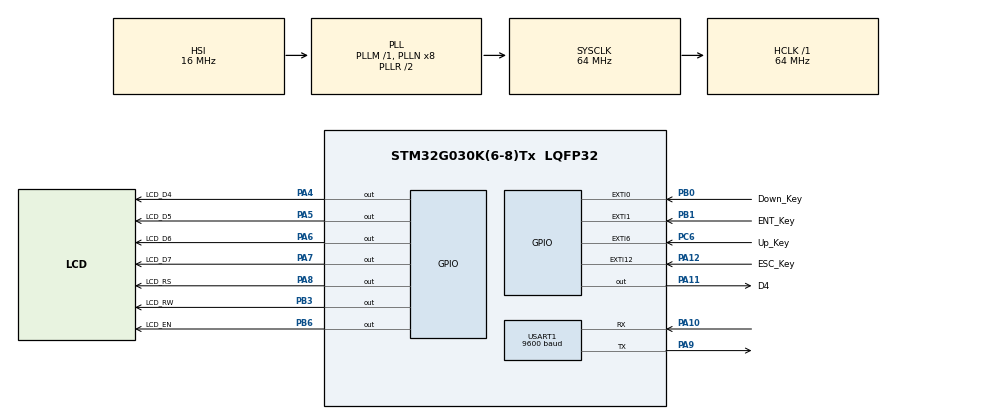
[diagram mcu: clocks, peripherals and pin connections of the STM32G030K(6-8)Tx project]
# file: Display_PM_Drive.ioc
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Mcu.Family=STM32G0
Mcu.Name=STM32G030K(6-8)Tx
Mcu.Package=LQFP32
NVIC.EXTI0_1_IRQn=true\:1\:0\:true\:false\:true\:true\:true\:true
NVIC.EXTI4_15_IRQn=true\:1\:0\:true\:false\:true\:true\:true\:true
NVIC.TIM1_BRK_UP_TRG_COM_IRQn=true\:1\:0\:true\:false\:true\:true\:true\:true
NVIC.USART1_IRQn=true\:0\:0\:false\:false\:true\:true\:true\:true
PA10.Mode=Asynchronous
PA10.Signal=USART1_RX
PA11\ [PA9].GPIO_Label=D4
PA11\ [PA9].Signal=GPIO_Output
PA12\ [PA10].GPIO_Label=ESC_Key
PA12\ [PA10].GPIO_ModeDefaultEXTI=GPIO_MODE_IT_FALLING
PA12\ [PA10].GPIO_PuPd=GPIO_PULLUP
PA12\ [PA10].Signal=GPXTI12
PA13.Mode=Serial_Wire
PA13.Signal=SYS_SWDIO
PA14-BOOT0.Mode=Serial_Wire
PA14-BOOT0.Signal=SYS_SWCLK
PA4.GPIO_Label=LCD_D4
PA4.GPIO_PuPd=GPIO_PULLDOWN
PA4.Signal=GPIO_Output
PA5.GPIO_Label=LCD_D5
PA5.GPIO_PuPd=GPIO_PULLDOWN
PA5.Signal=GPIO_Output
PA6.GPIO_Label=LCD_D6
PA6.GPIO_PuPd=GPIO_PULLDOWN
PA6.Signal=GPIO_Output
PA7.GPIO_Label=LCD_D7
PA7.GPIO_PuPd=GPIO_PULLDOWN
PA7.Signal=GPIO_Output
PA8.GPIO_Label=LCD_RS
PA8.GPIO_PuPd=GPIO_PULLDOWN
PA8.Signal=GPIO_Output
PA9.Mode=Asynchronous
PA9.Signal=USART1_TX
PB0.GPIO_Label=Down_Key
PB0.GPIO_ModeDefaultEXTI=GPIO_MODE_IT_FALLING
PB0.GPIO_PuPd=GPIO_PULLUP
PB0.Signal=GPXTI0
PB1.GPIO_Label=ENT_Key
PB1.GPIO_ModeDefaultEXTI=GPIO_MODE_IT_FALLING
PB1.GPIO_PuPd=GPIO_PULLUP
PB1.Signal=GPXTI1
PB3.GPIO_Label=LCD_RW
PB3.GPIO_PuPd=GPIO_PULLDOWN
PB3.Signal=GPIO_Output
PB6.GPIO_Label=LCD_EN
PB6.GPIO_PuPd=GPIO_PULLDOWN
PB6.Signal=GPIO_Output
PB8.Signal=I2C1_SCL
PC6.GPIO_Label=Up_Key
PC6.GPIO_ModeDefaultEXTI=GPIO_MODE_IT_FALLING
PC6.GPIO_PuPd=GPIO_PULLUP
PC6.Signal=GPXTI6
ProjectManager.HeapSize=0x200
ProjectManager.StackSize=0x400
ProjectManager.TargetToolchain=MDK-ARM V5.32
RCC.ADCFreq_Value=64000000
RCC.AHBFreq_Value=64000000
RCC.CortexFreq_Value=64000000
RCC.EXTERNAL_CLOCK_VALUE=12288000
RCC.HCLKFreq_Value=64000000
RCC.HSE_VALUE=8000000
RCC.HSI_VALUE=16000000
RCC.LSE_VALUE=32768
RCC.SYSCLKFreq_VALUE=64000000
RCC.SYSCLKSource=RCC_SYSCLKSOURCE_PLLCLK
RCC.VCOOutputFreq_Value=128000000
TIM1.AutoReloadPreload=TIM_AUTORELOAD_PRELOAD_ENABLE
TIM1.Period=6399
TIM1.Prescaler=999
TIM14.Period=6399
TIM14.Prescaler=999
USART1.BaudRate=9600
USART1.Parity=PARITY_NONE
USART1.VirtualMode-Asynchronous=VM_ASYNC
VP_TIM14_VS_ClockSourceINT.Mode=Enable_Timer
VP_TIM1_VS_ClockSourceINT.Mode=Internal
board=custom

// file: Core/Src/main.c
/* USER CODE BEGIN Header */
/**
  ******************************************************************************
  * @file           : main.c
  * @brief          : Main program body
  ******************************************************************************
  * @attention
  *
  * Copyright (c) 2024 STMicroelectronics.
  * All rights reserved.
  *
  * This software is licensed under terms that can be found in the LICENSE file
  * in the root directory of this software component.
  * If no LICENSE file comes with this software, it is provided AS-IS.
  *
  ******************************************************************************
  */
/* USER CODE END Header */
#include "main.h"

/* USER CODE BEGIN Includes */
#include "stm32G0xx_hal_gpio.h"
#include "Store_Flash.h"
#include "Menu.h"
#include "LCD.h"
#include <stdint.h>

#define Lock_ADV 200                  				// Lock time is according to Timer(100ms) : Ex: 200*100ms= 20000ms = 20s
#define Enter_Manual_Time 30          				// Entering manual mode or tuning mode is deppended on the Timer 100ms : Ex: 30*100ms= 3000ms = 3s : ItТs a reservation for when we want to enter manual mode using hotkeys. (we have write code in their functions if we want to have this Feature.)
#define Back_To_First_After_Time 100  				// Back to Screen Save after specefic time Time : Ex: 100*100ms= 10000ms = 10s
#define Turn_Off_Backlight 70                 // 7s
#define Feature_Turn_Off_Backlight 1          // 1: On , 0:off
//#define RST_Time 30                         //

extern uint8_t Byte_1_Device_Mode;
//----------------------------------
extern char Default_Flash_Array[255];					 // Coefficients for Defualt
char Commercial_Flash_Array[255];    				   // Coefficients for Commercial
char Household_Flash_Array[255];     					 // Coefficients for Household
char Office_Flash_Array[255]={0x01};  				 // Coefficients for Office
//bool Reset_To_Default_Value=0;
//-------------------------------------------------------
//----------------------------- Reserved addresses in Flash
//-------------------------------------------------------
#define Byte_1_Setup 0xFF                       // It's an address in RAM and it use for setup device
uint8_t Byte_1_Manual_Mode=0xFE;						    // It's a setting address for Manual mode
#define Byte_1_OK_Received 0xFD							    // It's a setting receving aknowledge
#define Byte_1_Receive_Data_Main_Board 0xfc     // It's a setting address for receving Data through mainboard
#define Byte_1_Reset_LCD 0xFB                   // It's a setting address for Reset LCD

//-------------------------------------------------------
//----------------------------- Read/Write Flash Variable
//-------------------------------------------------------
uint32_t addr = FLASH_USER_START_ADDR;          // Start address in flash memory :It's for storagind coefficients
char Read_Array_Flash[255];											// It's coefficients array
uint8_t Array_Flash_Counter=0;									// It's for counting coefficient's index

//-------------------------------------------------------
//----------------------------- UART Variables
//-------------------------------------------------------
uint8_t byte;
#define  Length_Frame 11
char buffer[Length_Frame];                 			//It's for printf Function in UART.
uint8_t  arr_frame[Length_Frame];							  //This array use for Storge valid bytes that sent from master device.
int  frame_counter=0;						           			//It's for counting bytes received from UART that they are valid for making Frame.
bool block_Counter_frame=0;			           		  //It's for checking start of frame "0xAA";
int  clear_counter_Frame=0;                     //It's for clearing "arr_frame";
uint8_t Value_Res1;                             //This variable is used for sending data on UART
uint8_t Byte_1_Start_Frame=0xAA;                //Setting Byte: Start Frame 1
uint8_t Byte_2_Start_Frame=0xBB;                //Setting Byte: Start Frame 2
uint8_t Byte_1_END_Frame=0xEE;               	  //Setting Byte: End Frame 1
uint8_t Byte_2_END_Frame=0xFF;                	//Setting Byte: End Frame 2
uint8_t Byte_1_Read_Frame=0xCC;                 //Setting Byte: Read Frame
uint8_t Byte_1_Write_Frame=0xDD;                //Setting Byte: Write Frame
bool Serial_Available=0;									      //show UART is available or not
bool Serial_Repeat=0;											      //It's a Flag for Enabling repeat_serial
uint8_t  Seial_Repeat_arr_frame[Length_Frame];	//repeat fream
bool Repeat_Time=0;															//It's for controling time of blinking
uint8_t Number_Repeat_Serial=0;                 //Number of repeat for sending frame
bool Lock_System=0;															//Arrow keys would be out of reach when this variable set 1
bool Transmision_Flag=0;												//This variable use for blocking sending Data

uint8_t Counter_Reset_system=5;									//Reset system after 5 second
uint8_t Counter_Devide_10=0;                    //It is used to divide time in the timer loop.

uint8_t Repeat_time_Serial=0;
//-------------------------------------------------------
//----------------------------- Keys&Menu Variable
//-------------------------------------------------------
Menu_HandleTypeDef PM_Menu;
uint8_t Menu_ESC=0;															// It would be 1 if we press ESC
uint8_t Menu_ENT=0;															// It would be 1 if we press ENT
uint8_t Menu_Down=0;														// It would be 1 if we press Down
uint8_t Menu_Up=0;															// It would be 1 if we press Up
extern int Value;																// It's for showing value on LCD or deciding about settings
uint8_t Menu_Reset;															// Reserve
int Fault_Vector=0;															// Reserve
int Counter_Down_Key=0;													// It whould be increase when you press "Down Key"
int Counter_ENT_Key=0;													// It whould be increase when you press "ENT Key"
int Counter_RST_Key=0;													// It whould be increase when you press "RST Key"
bool Manual_mode=0;															// It whould be one when you enter manual mode
uint8_t Counter_UP_Key=0;												// It whould be increase when you press "UP Key"
uint8_t Counter_ESC_Key=0;											// It whould be increase when you press "ESC Key"
uint8_t Step_Speed=0;														// It whould be increase when you press and hold on a key : we have 3 steps for increasing count's speed
uint8_t Counter_Change_Value=0;                 // It is used for changing Steps when we press up or down keys and hold on
uint8_t Counter_Key_Hold=0;											// It is used for calculating time when we press Up or down key and hold on
bool Lock_Counter_Key=1;											  // Changing the count's speed and changing steps would be locked if this flag set to 1
extern bool Reset_Menu;													// We can reset everything in the menu if this flag set to 1
bool Lock_LCD=0;																// Nothing shows on the LCD if this flag is set to 1
//-------------------------------------------------------
//----------------------------- Save Process Variables
//-------------------------------------------------------
bool Toggle_Sevensegment=0;										  // This variable is used for toggle LED segments when we are in save mode.
uint8_t Counter_Toggle_Sevensegment=0; 				  // We can control blinking time with this counter
extern uint8_t setting; 						  					// Coefficient array's Index
//-------------------------------------------------------
//----------------------------- Check Manual mode Variables
//-------------------------------------------------------
uint8_t Counter_Back_to_Norm=0;
bool Tune_Mode=0;                               // It would be 1 if tune mode is enabled
uint8_t Byte_1_OD_Mode=0x01;										// It's a special value when we are in manual mode if you want to have more information, please refer to the protocols document
uint8_t Byte_1_CD_Mode=0x02;										// It's a special value when we are in manual mode if you want to have more information, please refer to the protocols document
uint8_t Byte_1_Tune_Mode=0x03;									// It's a special value when we are in manual mode if you want to have more information, please refer to the protocols document
uint8_t Byte_1_Normal_Mode=0x04;								// It's a special value when we are in manual mode if you want to have more information, please refer to the protocols document
//-------------------------------------------------------
//----------------------------- Password Variable
//-------------------------------------------------------
extern bool check_Pass;													// It's a flag for validating the password
uint8_t Counter_Lock_Pass=0;										// Advance would be lock after a special time
bool Flag_Lock_Pass_Show=0;                     // It's a flag for locking the advanced mode

//-------------------------------------------------------
//----------------------------- Screen saver Variable
//-------------------------------------------------------
#define Travel_Byte_1_main 0x55                 // Setting Byte: For illustrating the Travel state on LCD, the main board has to send this value as a setting
#define Fault_Byte_1_main 0x77									// Setting Byte: For illustrating the Fault state on LCD, the main board has to send this value as a setting
char Show_Variable[4];													// Illustrating values on screen saver when value are sended through mainborad
bool Flag_Screen_Saver=0;												// It's a flag for enabeling sacreen saver
bool Change_State_LCD=0;												// When we are in status mode and return to normal mode, this flag is used to clear the LCD.
uint8_t Screen_Number=0;												// It's a value for selecting travel state or fault state that recieved through mainboard
uint8_t Counter_Time_Screen_Saver=0;						// It's a time counter for sceern saver: It would be 0 if we push keys
bool Flag_Repeat_Off=0;													// Sending repeat data would be off if this flag set to 1
//-------------------------------------------------------
//----------------------------- Wating
//-------------------------------------------------------
bool Flag_System_Waitng=0;                      // when system  has a special duty at the moment like sending frame or receiving frame, this flag would be 1
uint8_t Counter_Wating=0;
//-------------------------------------------------------
//----------------------------- CRC Variable
//-------------------------------------------------------
uint8_t CRC_Value;															//CRC= summation(All Coefficient)%97
//-------------------------------------------------------
//----------------------------- Turn off backlight
//-------------------------------------------------------
uint8_t Conter_Backlight=0;

/* USER CODE END Includes */

TIM_HandleTypeDef htim1;
TIM_HandleTypeDef htim14;

UART_HandleTypeDef huart1;

void SystemClock_Config(void);
static void MX_GPIO_Init(void);
static void MX_TIM1_Init(void);
static void MX_USART1_UART_Init(void);
static void MX_TIM14_Init(void);
/* USER CODE BEGIN PFP */

//------------------------------------------------------------------------------------------ Turn off LCD's Backlight
void GPIO_Init_Input(void);
//------------------------------------------------------------------------------------------ Turn on LCD's Backlight
void GPIO_Init_Output(void);
//------------------------------------------------------------------------------------------ UART Response
void Response_Input_Data(char byte_0){
	arr_frame[5]=0x00;       //Bit0 Response Value
	Value_Res1=byte_0;
	arr_frame[6]=Value_Res1; //Bit1 Response Value
	HAL_UART_Transmit(&huart1, arr_frame, sizeof(arr_frame), 10);
}
void LCD_OFF(void) {
    // Define the GPIO configuration structure
    GPIO_InitTypeDef GPIO_InitStruct = {0};

    // Configure GPIO pin PA5 as input
    GPIO_InitStruct.Pin = D4_Pin;
    GPIO_InitStruct.Mode = GPIO_MODE_INPUT;
    GPIO_InitStruct.Pull = GPIO_NOPULL;          // No pull-up or pull-down
    HAL_GPIO_Init(GPIOA, &GPIO_InitStruct);
}

// Function to configure D4 as output
void LCD_ON(void) {
    // Enable the GPIO clock for port A (adjust for your specific port)
    __HAL_RCC_GPIOA_CLK_ENABLE();

    // Define the GPIO configuration structure
    GPIO_InitTypeDef GPIO_InitStruct = {0};

    // Configure GPIO pin PA5 as output
    GPIO_InitStruct.Pin = D4_Pin;
    GPIO_InitStruct.Mode = GPIO_MODE_OUTPUT_PP;  // Push-pull output
    GPIO_InitStruct.Pull = GPIO_PULLDOWN;          // No pull-up or pull-down
    GPIO_InitStruct.Speed = GPIO_SPEED_FREQ_LOW; // Set speed to low
    HAL_GPIO_Init(GPIOA, &GPIO_InitStruct);
}
//------------------------------------------------------------------------------------------ TIMER
void HAL_TIM_PeriodElapsedCallback(TIM_HandleTypeDef *htim)
{

	if (htim==&htim14) //100ms
  {
		if(Counter_Toggle_Sevensegment>1){ // It is for controling speed of blinking : 200 ms
			Toggle_Sevensegment=!Toggle_Sevensegment;
			Counter_Toggle_Sevensegment=0;
		}
		Counter_Toggle_Sevensegment=Counter_Toggle_Sevensegment+1;
	}

	if (htim==&htim1) //100ms
  {
		//-------------------------------------------------------- Change Value when we press Up key and hold on
		if(HAL_GPIO_ReadPin(Up_Key_GPIO_Port,Up_Key_Pin)==0){
			Counter_Change_Value=Counter_Change_Value+1;
			if(Lock_Counter_Key==0){
				Counter_Key_Hold=Counter_Key_Hold+1;
			}
			if(Counter_Key_Hold>=25 && Step_Speed==0){ //It would be faster after 2.5 second
				Counter_Key_Hold=0;
				Step_Speed=Step_Speed+1;
				Counter_Change_Value=0;
			}
			else if(Counter_Key_Hold>=25 && Step_Speed==1){ //It would be faster after +2.5 second
				Step_Speed=Step_Speed+1;
				Lock_Counter_Key=1;
				Counter_Change_Value=0;
			}
			if(Step_Speed==0 && Counter_Change_Value>=4){ //Value would be change in each 0.4 second
					Change_Value_Conditions_Up_Key(&PM_Menu);
					Counter_Change_Value=0;
			}
			else if(Step_Speed==1 && Counter_Change_Value>=2){ //Value would be change in each 0.2 second
					Change_Value_Conditions_Up_Key(&PM_Menu);
					Counter_Change_Value=0;
			}
			else if(Step_Speed==2 && Counter_Change_Value>=1){ //Value would be change in each 0.1 second
					Change_Value_Conditions_Up_Key(&PM_Menu);
					Counter_Change_Value=0;
			}
		}
		//-------------------------------------------------------- Change Value when we press Down key and hold on
		else if(HAL_GPIO_ReadPin(Down_Key_GPIO_Port,Down_Key_Pin)==0){
			Counter_Change_Value=Counter_Change_Value+1;
			if(Lock_Counter_Key==0){
				Counter_Key_Hold=Counter_Key_Hold+1;
			}
			if(Counter_Key_Hold>=25 && Step_Speed==0){ //It would be faster after 2.5 second
				Counter_Key_Hold=0;
				Step_Speed=Step_Speed+1;
				Counter_Change_Value=0;
			}
			else if(Counter_Key_Hold>=25 && Step_Speed==1){ //It would be faster after +2.5 second
				Step_Speed=Step_Speed+1;
				Lock_Counter_Key=1;
				Counter_Change_Value=0;
			}
			if(Step_Speed==0 && Counter_Change_Value>=4 && Value>>0){ //Value would be change in each 0.4 second
					Change_Value_Conditions_Down_Key(&PM_Menu);
					Counter_Change_Value=0;
			}
			else if(Step_Speed==1 && Counter_Change_Value>=2 && Value>>0){ //Value would be change in each 0.2 second
					Change_Value_Conditions_Down_Key(&PM_Menu);
					Counter_Change_Value=0;
			}
			else if(Step_Speed==2 && Counter_Change_Value>=1 && Value>>0){ //Value would be change in each 0.1 second
					Change_Value_Conditions_Down_Key(&PM_Menu);
					Counter_Change_Value=0;
			}
		}
		else if(HAL_GPIO_ReadPin(Up_Key_GPIO_Port,Up_Key_Pin)==1 && HAL_GPIO_ReadPin(Down_Key_GPIO_Port,Down_Key_Pin)==1){
			Step_Speed=0;
			Counter_Change_Value=0;
			Lock_Counter_Key=0;
			Counter_Key_Hold=0;
		}

		//---------------------------------------------------- Read ESC Key
		if(HAL_GPIO_ReadPin(ESC_Key_GPIO_Port,ESC_Key_Pin)==0){
			Counter_ESC_Key=Counter_ESC_Key+1;
			Counter_Time_Screen_Saver=0;
			if(Counter_ESC_Key>=Enter_Manual_Time){
				Counter_ESC_Key=Enter_Manual_Time;
				//Place your code (Hotkeys)
			}
		}
		else{
			Counter_ESC_Key=0;
		}
		//---------------------------------------------------- Read UP Key
		if(HAL_GPIO_ReadPin(Up_Key_GPIO_Port,Up_Key_Pin)==0){
			Counter_Lock_Pass=0;
			Counter_Time_Screen_Saver=0;
			Counter_UP_Key=Counter_UP_Key+1;
				if(Counter_UP_Key>=Enter_Manual_Time){
					Counter_UP_Key=Enter_Manual_Time;
					//Place your code (Hotkeys)
			}
		}
		else{
			Counter_UP_Key=0;
		}
		//---------------------------------------------------- Read Down Key
		if(HAL_GPIO_ReadPin(Down_Key_GPIO_Port,Down_Key_Pin)==0){
			Counter_Lock_Pass=0;
			Counter_Time_Screen_Saver=0;
			Counter_Down_Key=Counter_Down_Key+1;
			if(Counter_Down_Key>=Enter_Manual_Time){
				Counter_Down_Key=Enter_Manual_Time;
				//Place your code (Hotkeys)
			}
		}
		else{
			Counter_Down_Key=0;
		}

		//---------------------------------------------------- Read ENT Key
		if(HAL_GPIO_ReadPin(ENT_Key_GPIO_Port,ENT_Key_Pin)==0){
			Counter_ENT_Key=Counter_ENT_Key+1;
				if(Counter_ENT_Key>=Enter_Manual_Time){
					Counter_ENT_Key=Enter_Manual_Time;
					//Place your code (Hotkeys)
			}
			Counter_Time_Screen_Saver=0;
		}
		else{
			Counter_ENT_Key=0;
		}
		//--------------------------- // If ADV 1 or ADV 2 was unlocked, it would be lock after "Lock_ADV" time
		if(check_Pass==1){
			Counter_Lock_Pass=Counter_Lock_Pass+1;
			if(Counter_Lock_Pass==Lock_ADV){
				Flag_Lock_Pass_Show=1;
				check_Pass=0;
				Counter_Lock_Pass=0;
				Reset_Menu=1;
				Flag_Screen_Saver=1;
			}
		}
		//---------------------------------------------------- Back to Screen Saver
		if(Manual_mode==0 && Flag_Screen_Saver==0){
			Counter_Time_Screen_Saver=Counter_Time_Screen_Saver+1;
		}
		if(Counter_Time_Screen_Saver>=Back_To_First_After_Time){
			Flag_Screen_Saver=1;
			Counter_Time_Screen_Saver=0;
			//Reset_Menu=1;
		}
		//---------------------------------------------------- Back to Normal Mode

		if(Manual_mode==0 && Counter_Back_to_Norm>=Back_To_First_After_Time){
			Lock_LCD=0;
			Manual_mode=0;
			Counter_Back_to_Norm=0;
			Reset_Menu=1;
			Flag_Screen_Saver=1;
			Counter_Back_to_Norm=Counter_Back_to_Norm+1;
		}
		/*else if(Manual_mode==1){
			Counter_Back_to_Norm=Counter_Back_to_Norm+1;
		}*/
		//---------------------------------------------------- Reset systeam after a special time
		if(Lock_System==1){
			Counter_Devide_10=Counter_Devide_10+1;
			if(Counter_Devide_10>=10){
				Counter_Devide_10=0;
				Counter_Reset_system=Counter_Reset_system-1;
			}
		}
		//---------------------------------------------------- Wating for filling coefficient
		if(Flag_System_Waitng==1){
			Counter_Wating=Counter_Wating+1;
			if(Counter_Wating>=20){
				Flag_System_Waitng=0;
				Counter_Wating=0;
			}
		}
		//---------------------------------------------------- Time for Repeating serial's data : Repeat data after 500 milisecound
		if(Serial_Repeat==1){
				Repeat_time_Serial=Repeat_time_Serial+1;
				if(Repeat_time_Serial==5){
					Repeat_Time=1;
					Repeat_time_Serial=0;
				}
			}
		//----------------------------------------------- Repeat data if we dont have reponse from main board when we have a change in the menu
		if(Serial_Repeat==1 && Repeat_Time==1 && Lock_System==0){
			HAL_UART_Transmit(&huart1, Seial_Repeat_arr_frame, sizeof(Seial_Repeat_arr_frame), 1000);
			Number_Repeat_Serial=Number_Repeat_Serial+1;
			Repeat_Time=0;
		}
		//----------------------------------------------- LCDs Backlight would be off after 5 second if we are screen saver mode
		if(Feature_Turn_Off_Backlight==1){
			if(Flag_Screen_Saver==1 && Flag_System_Waitng==0){
				Conter_Backlight=Conter_Backlight+1;
				if(Conter_Backlight>=Turn_Off_Backlight){
					Conter_Backlight=Turn_Off_Backlight;
					//LCD_OFF();
					HAL_GPIO_WritePin(D4_GPIO_Port, D4_Pin, GPIO_PIN_RESET);//LCD :OFF
				}
			}
			else if(Flag_Screen_Saver==0){
				Conter_Backlight=0;
				//LCD_ON();
				HAL_GPIO_WritePin(D4_GPIO_Port, D4_Pin, GPIO_PIN_SET);//LCD :ON
			}
		}

	}
}

//------------------------------------------------------------------------------------------ Receive UART1 and making Frame
void HAL_UART_RxCpltCallback(UART_HandleTypeDef *huart)
{
	if (huart == &huart1) {
		Serial_Available=1;
		//------------------------------------------- Make frame
		if(block_Counter_frame==1 && frame_counter<Length_Frame){
			arr_frame[frame_counter]=byte;
			frame_counter=frame_counter+1;
		}
		else if(byte==0xAA){
			memset(arr_frame,0,sizeof(arr_frame));
			block_Counter_frame=1;
			frame_counter=0;
			arr_frame[frame_counter]=byte;
			frame_counter=frame_counter+1;
			//free(arr_frame);
			//arr_dynamic = calloc(elements, sizeof(int)); //Array with 2 integer blocks
		}

		HAL_UART_Receive_IT(&huart1, &byte, 1);
	}
}
//------------------------------------------------------------------------------------------ EXTERNAL INTERUPT KEY
void HAL_GPIO_EXTI_Falling_Callback(uint16_t GPIO_Pin)
{

		if(Flag_Screen_Saver==0){
			if(GPIO_Pin== ESC_Key_Pin){
					Menu_ESC= !(HAL_GPIO_ReadPin(ESC_Key_GPIO_Port,ESC_Key_Pin));
					Counter_Lock_Pass=0;
			}
			if(GPIO_Pin== ENT_Key_Pin){
					Menu_ENT= !(HAL_GPIO_ReadPin(ENT_Key_GPIO_Port,ENT_Key_Pin));
					Counter_Lock_Pass=0;
			}
			if(GPIO_Pin== Down_Key_Pin){
					Menu_Down= !(HAL_GPIO_ReadPin(Down_Key_GPIO_Port,Down_Key_Pin));
					Counter_Lock_Pass=0;
			}
			if(GPIO_Pin== Up_Key_Pin){
					Menu_Up= !(HAL_GPIO_ReadPin(Up_Key_GPIO_Port,Up_Key_Pin));
					Counter_Lock_Pass=0;
			}
		}
		Counter_Time_Screen_Saver=0;
		Flag_Screen_Saver=0;

}

// Function to configure D4 as input

/* USER CODE END PFP */

int main(void)
{

  /* MCU Configuration--------------------------------------------------------*/

  /* Reset of all peripherals, Initializes the Flash interface and the Systick. */
  HAL_Init();

  /* Configure the system clock */
  SystemClock_Config();

  /* Initialize all configured peripherals */
  MX_GPIO_Init();
  MX_TIM1_Init();
  MX_USART1_UART_Init();
  MX_TIM14_Init();

  /* Infinite loop */
  /* USER CODE BEGIN WHILE */
	HAL_TIM_Base_Start_IT(&htim1);
	HAL_TIM_Base_Start_IT(&htim14);
	HAL_UART_Receive_IT(&huart1, &byte, 1);

	Manage_Memory(Default_Flash_Array,0);
	Manage_Memory(Commercial_Flash_Array,1);
	Manage_Memory(Household_Flash_Array	,2);
	Manage_Memory(Office_Flash_Array,3);

	LCD_Init();
	/* It can be used in the future
	GPIO_Init_Input();
	HAL_Delay(1000);*/

	//------------------------------- Reading Flash and filling coefficient array
	while(1) {
		int32_t data = readFlash(addr);
		if(data == -1) {
			break;
		}
		Read_Array_Flash[Array_Flash_Counter]=data-1;
		Array_Flash_Counter=Array_Flash_Counter+1;
		addr += 8;
	}

	if(Read_Array_Flash[0]==0x00){ // Refer to document (Setup_Flash)
		Setup_Flash();
		//Read_Flash=1;
		HAL_NVIC_SystemReset();
	}

	if(Counter_ESC_Key!=0 && Counter_UP_Key!=0){ // Refer to document (LCD Tunning mode)
		Setup_Flash();
		Tune_Mode=1;
	}

	HAL_Delay(100);
	Storage_Data_On_Mainboard(0x00,Byte_1_Setup);
	Array_Flash_Counter=0x00;
	HAL_Delay(100);

	if(Read_Array_Flash[6]==1 || Tune_Mode==1){
		setting=6;
		Tune_Mode=1;
		Read_Array_Flash[6]=Tune_Mode;
		Erase_Flash(FLASH_USER_START_ADDR,ADDR_FLASH_PAGE_BASE);
		incriment_array(1,sizeof(Read_Array_Flash),Read_Array_Flash);
		writeFlash(FLASH_USER_START_ADDR, Read_Array_Flash);
		incriment_array(-1,sizeof(Read_Array_Flash),Read_Array_Flash);
		Storage_Data_On_Mainboard(Tune_Mode,setting);
		setting=0;
	}

	Flag_Screen_Saver=1;
	Screen_Number=0;

	//LCD_ON();
	HAL_GPIO_WritePin(D4_GPIO_Port, D4_Pin, GPIO_PIN_SET);//LCD :ON
  while (1)
  {

		//GPIO_Init_Input();

		//------------------------------- Filling Flash with Default Value
		/*if(Reset_To_Default_Value==1){
			Erase_Flash(FLASH_USER_START_ADDR,ADDR_FLASH_PAGE_BASE);
			writeFlash(FLASH_USER_START_ADDR, Default_Flash_Array);
			Storage_Data_On_Mainboard(0,Byte_1_Device_Mode);
			HAL_NVIC_SystemReset();
		}*/

		//------------------------------- It's for illustrating "Advance Lock" on the seven segment
		if(Flag_Lock_Pass_Show==1){
			LCD_Puts(0,0,"   ADV Locked   ");
			LCD_Puts(0,1,"                ");
			Counter_Lock_Pass=Counter_Lock_Pass+1;
			if(Counter_Lock_Pass>=200){
				Counter_Lock_Pass=0;
				Flag_Lock_Pass_Show=0;
			}
		}

		//------------------------------- Check Input Frame and Response
		if(Serial_Available){
			Serial_Available=0;
			//----------------------------------------------- Check Input Frame and Response
			if(arr_frame[0]==Byte_1_Start_Frame && arr_frame[1]==Byte_2_Start_Frame  //Start Frames
				&& arr_frame[2]==Byte_1_Read_Frame 																		 //Type of Inputs
				&& arr_frame[9]==Byte_1_END_Frame && arr_frame[10]==Byte_2_END_Frame   //End Frames
			  && frame_counter==Length_Frame)                                        //Length of Inputs
			  {
				block_Counter_frame=0;
				//--------------------------------------------------------------------------------------------------------------------------------------
				arr_frame[2]=Byte_1_Write_Frame;                  							//Set the UART to response mode
				if(arr_frame[4]>=0x01 && arr_frame[4]<=Byte_1_Device_Mode){     //Just answer to Setting values ==> we have 107 settings on our device
					Response_Input_Data(Read_Array_Flash[arr_frame[4]]);
					if(Tune_Mode==0){
						Flag_System_Waitng=1;
						Counter_Wating=0;
						Serial_Repeat=0;
					}
					Number_Repeat_Serial=0;
				}
				//--------------------------------------------------------------------------------------------------------------------------------------
				if(arr_frame[4]==Byte_1_Receive_Data_Main_Board){             //It's a Respose Value from main board
					if(arr_frame[5]==Travel_Byte_1_main){
						switch(arr_frame[6]){
							case 0x00:
								Screen_Number=1; //Idle
							break;
							case 0x01:
								Screen_Number=2; //Stop
							break;
							case 0x02:
								Screen_Number=3; //Slow Close
							break;
							case 0x04:
								Screen_Number=4; //Opening
							break;
							case 0x08:
								Screen_Number=5; //Opened
							break;
							case 0x10:
								Screen_Number=6; //Closing
							break;
							case 0x20:
								Screen_Number=7; //Closed
							break;
							case 0x44:
								Screen_Number=8; //Opening(KP)
							break;
							case 0x48:
								Screen_Number=9; //Closing(KP)
							break;
						}
					}

					else if(arr_frame[5]==Fault_Byte_1_main){
						switch(arr_frame[6]){
							case 0x01:
								Screen_Number=20; //Short Circuit
							break;
							case 0x02:
								Screen_Number=21; //Over Voltage
							break;
							case 0x04:
								Screen_Number=22; //Over Load
							break;
							case 0x08:
								Screen_Number=23; //Over Heat
							break;
							case 0x10:
								Screen_Number=24; //DC Link
							break;
							case 0x20:
								Screen_Number=25; //Encoder
							break;
							default:
								Screen_Number=26; //Value
								memset(Show_Variable,0,sizeof(Show_Variable));
								Show_Variable[2]=(arr_frame[6]%10)+48;
								Show_Variable[1]=((arr_frame[6]/10)%10)+48;
								Show_Variable[0]=(arr_frame[6]/100)+48;
							break;

						}
					}

					//Flag_Screen_Saver=1;
					if(Transmision_Flag==0){
						Flag_Repeat_Off=1;
						Storage_Data_On_Mainboard(0x00,Byte_1_OK_Received);
					}
				}
				//--------------------------------------------------------------------------------------------------------------------------------------
				if(arr_frame[4]==Byte_1_OK_Received){																//It's Respose from main board
					memset(Seial_Repeat_arr_frame,32,sizeof(Seial_Repeat_arr_frame));
					Serial_Repeat=0;
					Repeat_Time=0;
					Number_Repeat_Serial=0;
					Transmision_Flag=0;
					Flag_System_Waitng=0;
				}
				//--------------------------------------------------------------------------------------------------------------------------------------
				if(arr_frame[4]==Byte_1_Reset_LCD){																	//Reset LCD through main board
					HAL_UART_Receive_IT(&huart1, &byte, 0);
					HAL_NVIC_SystemReset();
					HAL_Delay(1000);
				}
				//--------------------------------------------------------------------------------------------------------------------------------------
				if(arr_frame[3]==0x00 && arr_frame[4]==Byte_1_Manual_Mode && arr_frame[5]==0x00 && arr_frame[6]==Byte_1_Tune_Mode){ //Turn off tune mode
					Tune_Mode=0;
					Lock_LCD=0;
					Flag_Repeat_Off=1;
					Storage_Data_On_Mainboard(0x00,Byte_1_OK_Received);
					Read_Array_Flash[6]=Tune_Mode;
					Erase_Flash(FLASH_USER_START_ADDR,ADDR_FLASH_PAGE_BASE);
					incriment_array(1,sizeof(Read_Array_Flash),Read_Array_Flash);
					writeFlash(FLASH_USER_START_ADDR, Read_Array_Flash);
					incriment_array(-1,sizeof(Read_Array_Flash),Read_Array_Flash);
					Reset_Menu=1;
				}
				frame_counter=0;
				memset(arr_frame,0,sizeof(arr_frame));
			}
		}// End of Serial Available
		//--------------------------------------------------------------------------------------------------------------------------------------
		if(Number_Repeat_Serial>=10){ //After 5000 milisecond, display will say to us that connection has a problem
			Lock_System=1;
			Flag_Screen_Saver=0;
			LCD_Puts(0,0,"Connection Error");
			LCD_Puts(0,1,"Reset system:");
			LCD_Put(Counter_Reset_system+48);
			memset(arr_frame,0,sizeof(arr_frame));
			if(Counter_Reset_system==0){
				HAL_NVIC_SystemReset();
			}
		}
		//--------------------------------------------------------------------------------------------------------------------------------------
		if(Flag_System_Waitng==1){
			//LCD_Clear();
			LCD_Puts(0,0,"Waiting...      ");
			LCD_Puts(0,1,"                ");
		}
		else if(Lock_LCD==0 && Tune_Mode==1){
			Lock_LCD=1;
			LCD_Clear();
			Flag_System_Waitng=0;
			LCD_Puts(0,0,"Tune Mode...");
    }
		//--------------------------------------------------------------------------------------------------------------------------------------
		else if(Lock_System==0 && Flag_Lock_Pass_Show==0){
			if(Tune_Mode==0){
				//----------------------------------------------- Device status
				if(Flag_Screen_Saver==1){
					Change_State_LCD=1;
					LCD_Puts(0,0,"Status:         ");
					switch(Screen_Number){

						case 0:
								LCD_Puts(0,1,"Geting Data...  ");
						break;
						case 1:
								LCD_Puts(0,1,"Idle            ");
						break;
						case 2:
								LCD_Puts(0,1,"Stop            ");
						break;
						case 3:
								LCD_Puts(0,1,"Slow Close      ");
						break;
						case 4:
								LCD_Puts(0,1,"Opening         ");
						break;
						case 5:
								LCD_Puts(0,1,"Opened          ");
						break;
						case 6:
								LCD_Puts(0,1,"Closing         ");
						break;
						case 7:
								LCD_Puts(0,1,"Closed          ");
						break;
						case 8:
								LCD_Puts(0,1,"Opening(KP)     ");
						break;
						case 9:
								LCD_Puts(0,1,"Opened(KP)     ");
						break;
						//---------------------------------------------------------- Illustrate Value of the fault
						case 20:
							  LCD_Puts(0,1,"Short Circuit!  ");
						break;
						case 21:
								LCD_Puts(0,1,"Over Voltage!   ");
						break;
						case 22:
								LCD_Puts(0,1,"Over Load!      ");
						break;
						case 23:
								LCD_Puts(0,1,"Over Heat!      ");
						break;
						case 24:
								LCD_Puts(0,1,"DC Link!        ");
						break;
						case 25:
								LCD_Puts(0,1,"Encoder!        ");
						break;
						case 26:
						    LCD_Puts(0,1,"Fault:");
								LCD_Puts(6,1,Show_Variable);
								LCD_Puts(9,1,"      ");
						break;

					}
				}
				else if(Flag_Screen_Saver==0 && Flag_Lock_Pass_Show==0 && Flag_System_Waitng==0 && Tune_Mode==0){
					//----------------------------------------------- Chosing "Menu"
					if(Change_State_LCD==1){
						LCD_Clear();
						Change_State_LCD=0;
					}
					Menu_Data_Display(&PM_Menu);
					Menu_Selection(&PM_Menu,Menu_ESC,Menu_ENT,Menu_Down,Menu_Up,Menu_Reset,Fault_Vector);
					Menu_ESC=0;Menu_ENT=0;Menu_Up=0;Menu_Down=0;
				}
			}
		}

    /* USER CODE END WHILE */

  }
}

void SystemClock_Config(void)
{
  RCC_OscInitTypeDef RCC_OscInitStruct = {0};
  RCC_ClkInitTypeDef RCC_ClkInitStruct = {0};

  /** Configure the main internal regulator output voltage
  */
  HAL_PWREx_ControlVoltageScaling(PWR_REGULATOR_VOLTAGE_SCALE1);

  /** Initializes the RCC Oscillators according to the specified parameters
  * in the RCC_OscInitTypeDef structure.
  */
  RCC_OscInitStruct.OscillatorType = RCC_OSCILLATORTYPE_HSI;
  RCC_OscInitStruct.HSIState = RCC_HSI_ON;
  RCC_OscInitStruct.HSIDiv = RCC_HSI_DIV1;
  RCC_OscInitStruct.HSICalibrationValue = RCC_HSICALIBRATION_DEFAULT;
  RCC_OscInitStruct.PLL.PLLState = RCC_PLL_ON;
  RCC_OscInitStruct.PLL.PLLSource = RCC_PLLSOURCE_HSI;
  RCC_OscInitStruct.PLL.PLLM = RCC_PLLM_DIV1;
  RCC_OscInitStruct.PLL.PLLN = 8;
  RCC_OscInitStruct.PLL.PLLP = RCC_PLLP_DIV2;
  RCC_OscInitStruct.PLL.PLLR = RCC_PLLR_DIV2;
  if (HAL_RCC_OscConfig(&RCC_OscInitStruct) != HAL_OK)
  {
    Error_Handler();
  }

  /** Initializes the CPU, AHB and APB buses clocks
  */
  RCC_ClkInitStruct.ClockType = RCC_CLOCKTYPE_HCLK|RCC_CLOCKTYPE_SYSCLK
                              |RCC_CLOCKTYPE_PCLK1;
  RCC_ClkInitStruct.SYSCLKSource = RCC_SYSCLKSOURCE_PLLCLK;
  RCC_ClkInitStruct.AHBCLKDivider = RCC_SYSCLK_DIV1;
  RCC_ClkInitStruct.APB1CLKDivider = RCC_HCLK_DIV1;

  if (HAL_RCC_ClockConfig(&RCC_ClkInitStruct, FLASH_LATENCY_2) != HAL_OK)
  {
    Error_Handler();
  }
}

static void MX_TIM1_Init(void)
{

  TIM_ClockConfigTypeDef sClockSourceConfig = {0};
  TIM_MasterConfigTypeDef sMasterConfig = {0};

  htim1.Instance = TIM1;
  htim1.Init.Prescaler = 999;
  htim1.Init.CounterMode = TIM_COUNTERMODE_UP;
  htim1.Init.Period = 6399;
  htim1.Init.ClockDivision = TIM_CLOCKDIVISION_DIV1;
  htim1.Init.RepetitionCounter = 0;
  htim1.Init.AutoReloadPreload = TIM_AUTORELOAD_PRELOAD_ENABLE;
  if (HAL_TIM_Base_Init(&htim1) != HAL_OK)
  {
    Error_Handler();
  }
  sClockSourceConfig.ClockSource = TIM_CLOCKSOURCE_INTERNAL;
  if (HAL_TIM_ConfigClockSource(&htim1, &sClockSourceConfig) != HAL_OK)
  {
    Error_Handler();
  }
  sMasterConfig.MasterOutputTrigger = TIM_TRGO_RESET;
  sMasterConfig.MasterOutputTrigger2 = TIM_TRGO2_RESET;
  sMasterConfig.MasterSlaveMode = TIM_MASTERSLAVEMODE_DISABLE;
  if (HAL_TIMEx_MasterConfigSynchronization(&htim1, &sMasterConfig) != HAL_OK)
  {
    Error_Handler();
  }

}

static void MX_TIM14_Init(void)
{

  htim14.Instance = TIM14;
  htim14.Init.Prescaler = 999;
  htim14.Init.CounterMode = TIM_COUNTERMODE_UP;
  htim14.Init.Period = 6399;
  htim14.Init.ClockDivision = TIM_CLOCKDIVISION_DIV1;
  htim14.Init.AutoReloadPreload = TIM_AUTORELOAD_PRELOAD_DISABLE;
  if (HAL_TIM_Base_Init(&htim14) != HAL_OK)
  {
    Error_Handler();
  }

}

static void MX_USART1_UART_Init(void)
{

  huart1.Instance = USART1;
  huart1.Init.BaudRate = 9600;
  huart1.Init.WordLength = UART_WORDLENGTH_8B;
  huart1.Init.StopBits = UART_STOPBITS_1;
  huart1.Init.Parity = UART_PARITY_NONE;
  huart1.Init.Mode = UART_MODE_TX_RX;
  huart1.Init.HwFlowCtl = UART_HWCONTROL_NONE;
  huart1.Init.OverSampling = UART_OVERSAMPLING_16;
  huart1.Init.OneBitSampling = UART_ONE_BIT_SAMPLE_DISABLE;
  huart1.Init.ClockPrescaler = UART_PRESCALER_DIV1;
  huart1.AdvancedInit.AdvFeatureInit = UART_ADVFEATURE_NO_INIT;
  if (HAL_UART_Init(&huart1) != HAL_OK)
  {
    Error_Handler();
  }
  if (HAL_UARTEx_SetTxFifoThreshold(&huart1, UART_TXFIFO_THRESHOLD_1_8) != HAL_OK)
  {
    Error_Handler();
  }
  if (HAL_UARTEx_SetRxFifoThreshold(&huart1, UART_RXFIFO_THRESHOLD_1_8) != HAL_OK)
  {
    Error_Handler();
  }
  if (HAL_UARTEx_DisableFifoMode(&huart1) != HAL_OK)
  {
    Error_Handler();
  }

}

static void MX_GPIO_Init(void)
{
  GPIO_InitTypeDef GPIO_InitStruct = {0};

  /* GPIO Ports Clock Enable */
  __HAL_RCC_GPIOA_CLK_ENABLE();
  __HAL_RCC_GPIOB_CLK_ENABLE();
  __HAL_RCC_GPIOC_CLK_ENABLE();

  /*Configure GPIO pin Output Level */
  HAL_GPIO_WritePin(GPIOA, LCD_D4_Pin|LCD_D5_Pin|LCD_D6_Pin|LCD_D7_Pin
                          |LCD_RS_Pin|D4_Pin, GPIO_PIN_RESET);

  /*Configure GPIO pin Output Level */
  HAL_GPIO_WritePin(GPIOB, LCD_RW_Pin|LCD_EN_Pin, GPIO_PIN_RESET);

  /*Configure GPIO pins : LCD_D4_Pin LCD_D5_Pin LCD_D6_Pin LCD_D7_Pin
                           LCD_RS_Pin */
  GPIO_InitStruct.Pin = LCD_D4_Pin|LCD_D5_Pin|LCD_D6_Pin|LCD_D7_Pin
                          |LCD_RS_Pin;
  GPIO_InitStruct.Mode = GPIO_MODE_OUTPUT_PP;
  GPIO_InitStruct.Pull = GPIO_PULLDOWN;
  GPIO_InitStruct.Speed = GPIO_SPEED_FREQ_LOW;
  HAL_GPIO_Init(GPIOA, &GPIO_InitStruct);

  /*Configure GPIO pins : Down_Key_Pin ENT_Key_Pin */
  GPIO_InitStruct.Pin = Down_Key_Pin|ENT_Key_Pin;
  GPIO_InitStruct.Mode = GPIO_MODE_IT_FALLING;
  GPIO_InitStruct.Pull = GPIO_PULLUP;
  HAL_GPIO_Init(GPIOB, &GPIO_InitStruct);

  /*Configure GPIO pin : Up_Key_Pin */
  GPIO_InitStruct.Pin = Up_Key_Pin;
  GPIO_InitStruct.Mode = GPIO_MODE_IT_FALLING;
  GPIO_InitStruct.Pull = GPIO_PULLUP;
  HAL_GPIO_Init(Up_Key_GPIO_Port, &GPIO_InitStruct);

  /*Configure GPIO pin : D4_Pin */
  GPIO_InitStruct.Pin = D4_Pin;
  GPIO_InitStruct.Mode = GPIO_MODE_OUTPUT_PP;
  GPIO_InitStruct.Pull = GPIO_NOPULL;
  GPIO_InitStruct.Speed = GPIO_SPEED_FREQ_LOW;
  HAL_GPIO_Init(D4_GPIO_Port, &GPIO_InitStruct);

  /*Configure GPIO pin : ESC_Key_Pin */
  GPIO_InitStruct.Pin = ESC_Key_Pin;
  GPIO_InitStruct.Mode = GPIO_MODE_IT_FALLING;
  GPIO_InitStruct.Pull = GPIO_PULLUP;
  HAL_GPIO_Init(ESC_Key_GPIO_Port, &GPIO_InitStruct);

  /*Configure GPIO pins : LCD_RW_Pin LCD_EN_Pin */
  GPIO_InitStruct.Pin = LCD_RW_Pin|LCD_EN_Pin;
  GPIO_InitStruct.Mode = GPIO_MODE_OUTPUT_PP;
  GPIO_InitStruct.Pull = GPIO_PULLDOWN;
  GPIO_InitStruct.Speed = GPIO_SPEED_FREQ_LOW;
  HAL_GPIO_Init(GPIOB, &GPIO_InitStruct);

  /*Configure GPIO pin : PB8 */
  GPIO_InitStruct.Pin = GPIO_PIN_8;
  GPIO_InitStruct.Mode = GPIO_MODE_AF_OD;
  GPIO_InitStruct.Pull = GPIO_NOPULL;
  GPIO_InitStruct.Speed = GPIO_SPEED_FREQ_LOW;
  GPIO_InitStruct.Alternate = GPIO_AF6_I2C1;
  HAL_GPIO_Init(GPIOB, &GPIO_InitStruct);

  /* EXTI interrupt init*/
  HAL_NVIC_SetPriority(EXTI0_1_IRQn, 1, 0);
  HAL_NVIC_EnableIRQ(EXTI0_1_IRQn);

  HAL_NVIC_SetPriority(EXTI4_15_IRQn, 1, 0);
  HAL_NVIC_EnableIRQ(EXTI4_15_IRQn);

}

void Error_Handler(void)
{
  __disable_irq();
  while (1)
  {
  }
}
